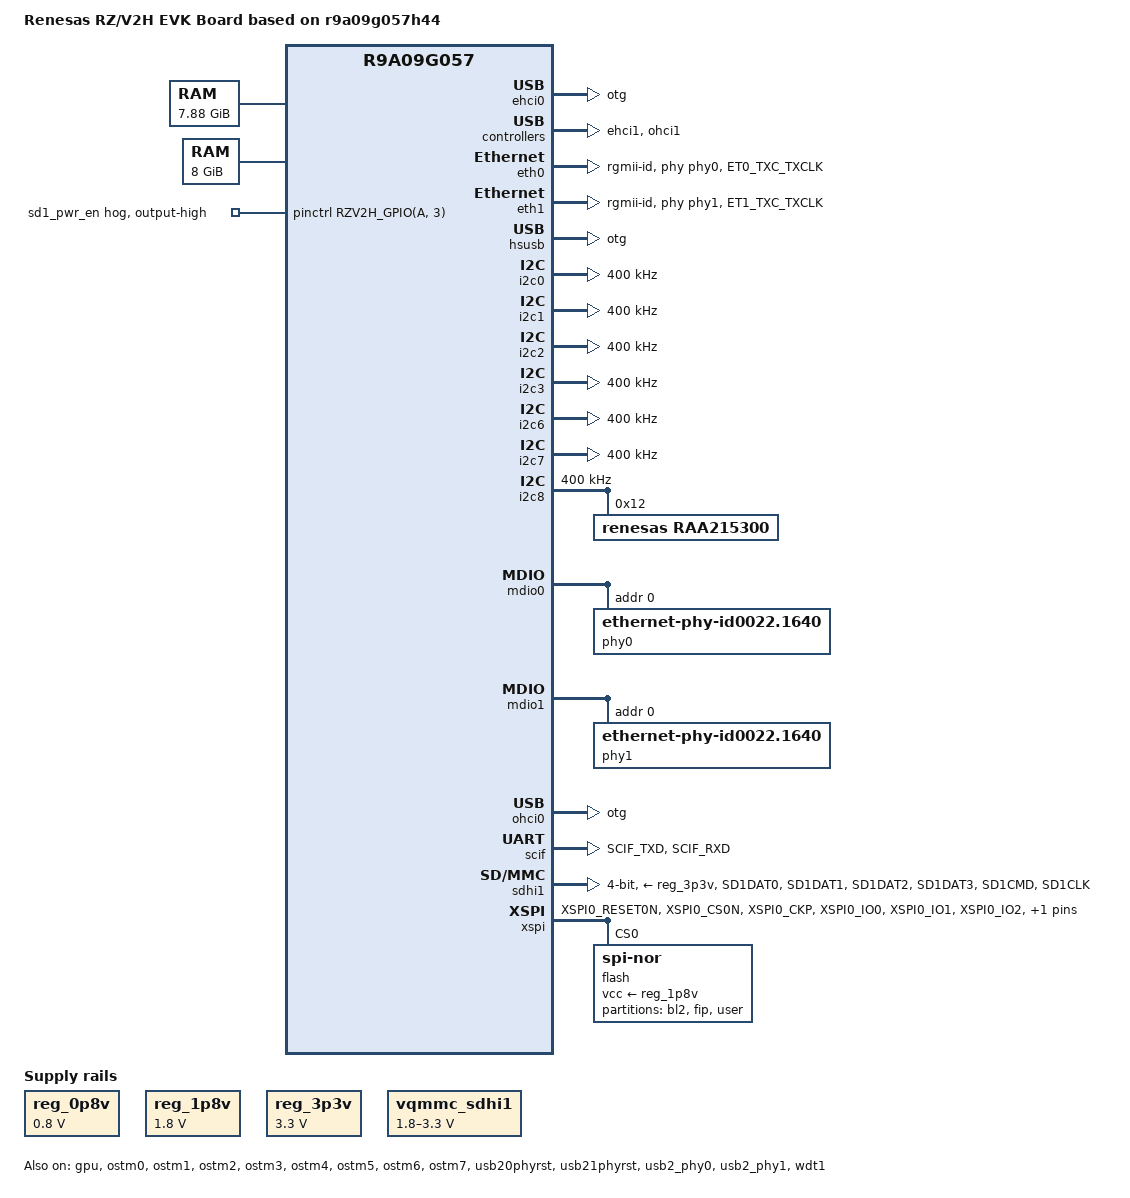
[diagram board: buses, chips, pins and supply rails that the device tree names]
// SPDX-License-Identifier: (GPL-2.0-only OR BSD-2-Clause)
/*
 * Device Tree Source for the RZ/V2H EVK board
 *
 * Copyright (C) 2024 Renesas Electronics Corp.
 */

/dts-v1/;

#include <dt-bindings/pinctrl/renesas,r9a09g057-pinctrl.h>
#include <dt-bindings/gpio/gpio.h>
#include "r9a09g057.dtsi"

/ {
	model = "Renesas RZ/V2H EVK Board based on r9a09g057h44";
	compatible = "renesas,rzv2h-evk", "renesas,r9a09g057h44", "renesas,r9a09g057";

	aliases {
		ethernet0 = &eth0;
		ethernet1 = &eth1;
		i2c0 = &i2c0;
		i2c1 = &i2c1;
		i2c2 = &i2c2;
		i2c3 = &i2c3;
		i2c6 = &i2c6;
		i2c7 = &i2c7;
		i2c8 = &i2c8;
		mmc1 = &sdhi1;
		serial0 = &scif;
	};

	chosen {
		bootargs = "ignore_loglevel";
		stdout-path = "serial0:115200n8";
	};

	memory@48000000 {
		device_type = "memory";
		/* first 128MB is reserved for secure area. */
		reg = <0x0 0x48000000 0x1 0xF8000000>;
	};

	memory@240000000 {
		device_type = "memory";
		reg = <0x2 0x40000000 0x2 0x00000000>;
	};

	reg_0p8v: regulator-0p8v {
		compatible = "regulator-fixed";

		regulator-name = "fixed-0.8V";
		regulator-min-microvolt = <800000>;
		regulator-max-microvolt = <800000>;
		regulator-boot-on;
		regulator-always-on;
	};

	reg_1p8v: regulator-1p8v {
		compatible = "regulator-fixed";
		regulator-name = "fixed-1.8V";
		regulator-min-microvolt = <1800000>;
		regulator-max-microvolt = <1800000>;
		regulator-boot-on;
		regulator-always-on;
	};

	reg_3p3v: regulator-3p3v {
		compatible = "regulator-fixed";

		regulator-name = "fixed-3.3V";
		regulator-min-microvolt = <3300000>;
		regulator-max-microvolt = <3300000>;
		regulator-boot-on;
		regulator-always-on;
	};

	vqmmc_sdhi1: regulator-vccq-sdhi1 {
		compatible = "regulator-gpio";
		regulator-name = "SDHI1 VccQ";
		gpios = <&pinctrl RZV2H_GPIO(A, 2) GPIO_ACTIVE_HIGH>;
		regulator-min-microvolt = <1800000>;
		regulator-max-microvolt = <3300000>;
		gpios-states = <0>;
		states = <3300000 0>, <1800000 1>;
	};

	/* 32.768kHz crystal */
	x6: x6-clock {
		compatible = "fixed-clock";
		#clock-cells = <0>;
		clock-frequency = <32768>;
	};
};

&audio_extal_clk {
	clock-frequency = <22579200>;
};

&ehci0 {
	dr_mode = "otg";
	status = "okay";
};

&ehci1 {
	status = "okay";
};

&eth0 {
	pinctrl-0 = <&eth0_pins>;
	pinctrl-names = "default";
	phy-handle = <&phy0>;
	phy-mode = "rgmii-id";
	status = "okay";
};

&eth1 {
	pinctrl-0 = <&eth1_pins>;
	pinctrl-names = "default";
	phy-handle = <&phy1>;
	phy-mode = "rgmii-id";
	status = "okay";
};

&gpu {
	status = "okay";
	mali-supply = <&reg_0p8v>;
};

&hsusb {
	dr_mode = "otg";
	status = "okay";
};

&i2c0 {
	pinctrl-0 = <&i2c0_pins>;
	pinctrl-names = "default";
	clock-frequency = <400000>;

	status = "okay";
};

&i2c1 {
	pinctrl-0 = <&i2c1_pins>;
	pinctrl-names = "default";
	clock-frequency = <400000>;

	status = "okay";
};

&i2c2 {
	pinctrl-0 = <&i2c2_pins>;
	pinctrl-names = "default";
	clock-frequency = <400000>;

	status = "okay";
};

&i2c3 {
	pinctrl-0 = <&i2c3_pins>;
	pinctrl-names = "default";
	clock-frequency = <400000>;

	status = "okay";
};

&i2c6 {
	pinctrl-0 = <&i2c6_pins>;
	pinctrl-names = "default";
	clock-frequency = <400000>;

	status = "okay";
};

&i2c7 {
	pinctrl-0 = <&i2c7_pins>;
	pinctrl-names = "default";
	clock-frequency = <400000>;

	status = "okay";
};

&i2c8 {
	pinctrl-0 = <&i2c8_pins>;
	pinctrl-names = "default";
	clock-frequency = <400000>;

	status = "okay";

	raa215300: pmic@12 {
		compatible = "renesas,raa215300";
		reg = <0x12>, <0x6f>;
		reg-names = "main", "rtc";
		clocks = <&x6>;
		clock-names = "xin";
	};
};

&mdio0 {
	phy0: ethernet-phy@0 {
		compatible = "ethernet-phy-id0022.1640", "ethernet-phy-ieee802.3-c22";
		reg = <0>;
		rxc-skew-psec = <0>;
		txc-skew-psec = <0>;
		rxdv-skew-psec = <0>;
		txdv-skew-psec = <0>;
		rxd0-skew-psec = <0>;
		rxd1-skew-psec = <0>;
		rxd2-skew-psec = <0>;
		rxd3-skew-psec = <0>;
		txd0-skew-psec = <0>;
		txd1-skew-psec = <0>;
		txd2-skew-psec = <0>;
		txd3-skew-psec = <0>;
	};
};

&mdio1 {
	phy1: ethernet-phy@1 {
		compatible = "ethernet-phy-id0022.1640", "ethernet-phy-ieee802.3-c22";
		reg = <0>;
		rxc-skew-psec = <0>;
		txc-skew-psec = <0>;
		rxdv-skew-psec = <0>;
		txdv-skew-psec = <0>;
		rxd0-skew-psec = <0>;
		rxd1-skew-psec = <0>;
		rxd2-skew-psec = <0>;
		rxd3-skew-psec = <0>;
		txd0-skew-psec = <0>;
		txd1-skew-psec = <0>;
		txd2-skew-psec = <0>;
		txd3-skew-psec = <0>;
	};
};

&ohci0 {
	dr_mode = "otg";
	status = "okay";
};

&ohci1 {
	status = "okay";
};

&ostm0 {
	status = "okay";
};

&ostm1 {
	status = "okay";
};

&ostm2 {
	status = "okay";
};

&ostm3 {
	status = "okay";
};

&ostm4 {
	status = "okay";
};

&ostm5 {
	status = "okay";
};

&ostm6 {
	status = "okay";
};

&ostm7 {
	status = "okay";
};

&pinctrl {
	eth0_pins: eth0 {
		pins = "ET0_TXC_TXCLK";
		output-enable;
	};

	eth1_pins: eth1 {
		pins = "ET1_TXC_TXCLK";
		output-enable;
	};

	i2c0_pins: i2c0 {
		pinmux = <RZV2H_PORT_PINMUX(3, 0, 1)>, /* I2C0_SDA */
			 <RZV2H_PORT_PINMUX(3, 1, 1)>; /* I2C0_SCL */
	};

	i2c1_pins: i2c1 {
		pinmux = <RZV2H_PORT_PINMUX(3, 2, 1)>, /* I2C1_SDA */
			 <RZV2H_PORT_PINMUX(3, 3, 1)>; /* I2C1_SCL */
	};

	i2c2_pins: i2c2 {
		pinmux = <RZV2H_PORT_PINMUX(2, 0, 4)>, /* I2C2_SDA */
			 <RZV2H_PORT_PINMUX(2, 1, 4)>; /* I2C2_SCL */
	};

	i2c3_pins: i2c3 {
		pinmux = <RZV2H_PORT_PINMUX(3, 6, 1)>, /* I2C3_SDA */
			 <RZV2H_PORT_PINMUX(3, 7, 1)>; /* I2C3_SCL */
	};

	i2c6_pins: i2c6 {
		pinmux = <RZV2H_PORT_PINMUX(4, 4, 1)>, /* I2C6_SDA */
			 <RZV2H_PORT_PINMUX(4, 5, 1)>; /* I2C6_SCL */
	};

	i2c7_pins: i2c7 {
		pinmux = <RZV2H_PORT_PINMUX(4, 6, 1)>, /* I2C7_SDA */
			 <RZV2H_PORT_PINMUX(4, 7, 1)>; /* I2C7_SCL */
	};

	i2c8_pins: i2c8 {
		pinmux = <RZV2H_PORT_PINMUX(0, 6, 1)>, /* I2C8_SDA */
			 <RZV2H_PORT_PINMUX(0, 7, 1)>; /* I2C8_SCL */
	};

	scif_pins: scif {
		pins = "SCIF_TXD", "SCIF_RXD";
		renesas,output-impedance = <1>;
	};

	sd1-pwr-en-hog {
		gpio-hog;
		gpios = <RZV2H_GPIO(A, 3) GPIO_ACTIVE_HIGH>;
		output-high;
		line-name = "sd1_pwr_en";
	};

	sdhi1_pins: sd1 {
		sd1_dat_cmd {
			pins = "SD1DAT0", "SD1DAT1", "SD1DAT2", "SD1DAT3", "SD1CMD";
			input-enable;
			renesas,output-impedance = <3>;
			slew-rate = <0>;
		};

		sd1_clk {
			pins = "SD1CLK";
			renesas,output-impedance = <3>;
			slew-rate = <0>;
		};

		sd1_cd {
			pinmux = <RZV2H_PORT_PINMUX(9, 4, 14)>; /* SD1_CD */
		};
	};

	usb20_pins: usb20 {
		ovc {
			pinmux = <RZV2H_PORT_PINMUX(9, 6, 14)>; /* OVC */
		};

		vbus {
			pinmux = <RZV2H_PORT_PINMUX(9, 5, 14)>; /* VBUS */
		};
	};

	usb21_pins: usb21 {
		ovc {
			pinmux = <RZV2H_PORT_PINMUX(6, 7, 14)>; /* OVC */
		};

		vbus {
			pinmux = <RZV2H_PORT_PINMUX(6, 6, 14)>; /* VBUS */
		};
	};

	xspi_pins: xspi0 {
		ctrl {
			pins = "XSPI0_RESET0N", "XSPI0_CS0N", "XSPI0_CKP";
			output-enable;
		};

		io {
			pins = "XSPI0_IO0", "XSPI0_IO1", "XSPI0_IO2", "XSPI0_IO3";
			renesas,output-impedance = <3>;
		};
	};
};

&qextal_clk {
	clock-frequency = <24000000>;
};

&rtxin_clk {
	clock-frequency = <32768>;
};

&scif {
	pinctrl-0 = <&scif_pins>;
	pinctrl-names = "default";

	status = "okay";
};

&sdhi1 {
	pinctrl-0 = <&sdhi1_pins>;
	pinctrl-1 = <&sdhi1_pins>;
	pinctrl-names = "default", "state_uhs";
	vmmc-supply = <&reg_3p3v>;
	vqmmc-supply = <&vqmmc_sdhi1>;
	bus-width = <4>;
	sd-uhs-sdr50;
	sd-uhs-sdr104;
	status = "okay";
};

&usb20phyrst {
	status = "okay";
};

&usb21phyrst {
	status = "okay";
};

&usb2_phy0 {
	pinctrl-0 = <&usb20_pins>;
	pinctrl-names = "default";

	status = "okay";
};

&usb2_phy1 {
	pinctrl-0 = <&usb21_pins>;
	pinctrl-names = "default";

	status = "okay";
};

&wdt1 {
	status = "okay";
};

&xspi {
	pinctrl-0 = <&xspi_pins>;
	pinctrl-names = "default";
	/*
	 * MT25QU512ABB8E12 flash chip is capable of running at 166MHz
	 * clock frequency. Set the clock frequency to the maximum 133MHz
	 * supported by the RZ/V2H SoC.
	 */
	assigned-clocks = <&cpg CPG_CORE R9A09G057_SPI_CLK_SPI>;
	assigned-clock-rates = <133333334>;
	status = "okay";

	flash@0 {
		compatible = "jedec,spi-nor";
		reg = <0>;
		vcc-supply = <&reg_1p8v>;
		m25p,fast-read;
		spi-tx-bus-width = <4>;
		spi-rx-bus-width = <4>;

		partitions {
			compatible = "fixed-partitions";
			#address-cells = <1>;
			#size-cells = <1>;

			partition@0 {
				label = "bl2";
				reg = <0x00000000 0x00060000>;
			};

			partition@60000 {
				label = "fip";
				reg = <0x00060000 0x1fa0000>;
			};

			partition@2000000 {
				label = "user";
				reg = <0x2000000 0x2000000>;
			};
		};
	};
};
